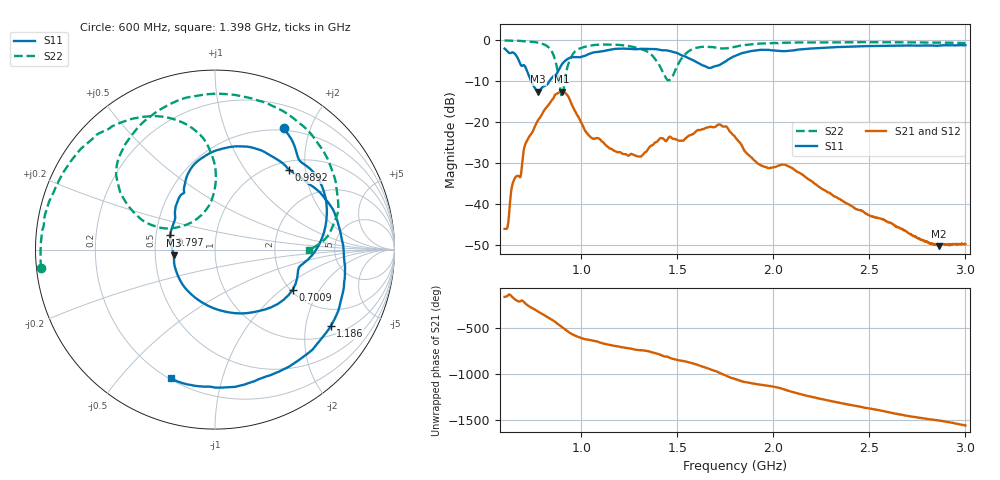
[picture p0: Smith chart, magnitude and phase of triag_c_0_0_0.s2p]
#  HZ  S  RI  R  50.00
! Rohde & Schwarz ZVB8 2Ports - Version 2.81 - 1145.1010k08 SN: 100113
! Date: 2016-05-03 01:37:11
! Measurements: S11 S21 S12 S22
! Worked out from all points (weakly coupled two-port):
!   1000 points, 600 MHz to 3 GHz, reference 50 ohm
!   highest |S21| = -12.69 dB at 897.9 MHz (marker M1); lowest = -50.4 dB at 2.863 GHz (marker M2)
!   lowest |S11| = -12.7 dB at 775.4 MHz (marker M3), VSWR 1.60, Z = 31.2 - j2.05 ohm
!   |S11| at or under -10 dB: 736.8 MHz to 835.4 MHz (98.63 MHz wide, 12.5 % of centre)
!   |S22| runs from -14.0 to -0.2 dB; largest |S21 - S12| = 0.0015
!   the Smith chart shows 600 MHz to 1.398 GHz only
!   S11 on the Smith chart (normalised r, x): 600 MHz: 0.48, +1.61; 700.9 MHz: 2.05, -1.20; 797 MHz: 0.59, +0.11; 989.2 MHz: 1.17, +1.64; 1.186 GHz: 1.30, -2.76; 1.398 GHz: 0.21, -0.70
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6e8  0.3824 0.6751  -0.00477 -0.00122  -0.00473 -0.0013  -0.9693 -0.1036
7.009009e8  0.4327 -0.2233  -0.0344 0.0314  -0.0338 0.032  -0.8889 0.344
7.753754e8  -0.2301 -0.0311  0.088 0.0575  0.088 0.0589  -0.6614 0.6382
7.96997e8  -0.2486 0.0841  0.1244 0.0169  0.1243 0.0182  -0.5459 0.6991
8.45045e8  -0.2093 0.2656  0.1089 -0.1449  0.109 -0.1446  -0.1639 0.7
8.978979e8  -0.1058 0.485  -0.1571 -0.1706  -0.1558 -0.1714  -0.1 0.1717
9.891892e8  0.4138 0.4442  -0.0442 0.0987  -0.0446 0.0983  -0.493 0.5973
1.001201e9  0.4524 0.4194  -0.0242 0.0924  -0.0246 0.0921  -0.4549 0.6489
1.186186e9  0.6442 -0.4273  0.0407 0.0122  0.0406 0.0124  0.3316 0.7952
1.311111e9  0.1527 -0.7546  0.034 -0.0165  0.0342 -0.0163  0.6743 0.3595
1.397598e9  -0.2446 -0.7176  0.0244 -0.0527  0.0244 -0.0527  0.5254 -0.00211
1.4e9  -0.2537 -0.7126  0.0233 -0.0543  0.0235 -0.0543  0.5158 -0.0081
1.457658e9  -0.4585 -0.5646  -0.0167 -0.0628  -0.0164 -0.0627  0.3065 0.0944
1.52973e9  -0.5532 -0.3076  -0.047 -0.0349  -0.0467 -0.0349  0.5621 0.2608
1.618619e9  -0.4924 -0.097  -0.0755 0.022  -0.0755 0.0216  0.799 -0.1133
1.801201e9  -0.6309 0.0477  0.061 0.0204  0.0605 0.0205  0.5215 -0.6277
1.981381e9  -0.3995 0.6281  0.0154 -0.0223  0.0157 -0.0221  0.0103 -0.9004
2.2e9  0.2948 0.7203  -0.0187 -0.0019  -0.0187 -0.00195  -0.5924 -0.7077
2.411411e9  0.8201 0.0849  -0.000694 0.00921  -0.000731 0.00925  -0.888 -0.2657
2.601201e9  0.5442 -0.6403  0.00558 0.002  0.00558 0.00207  -0.911 0.1718
2.863063e9  -0.4001 -0.7425  0.000983 -0.00287  0.00109 -0.00295  -0.6108 0.6882
3e9  -0.7423 -0.4176  -0.00181 -0.00265  -0.00179 -0.00271  -0.3268 0.8437
